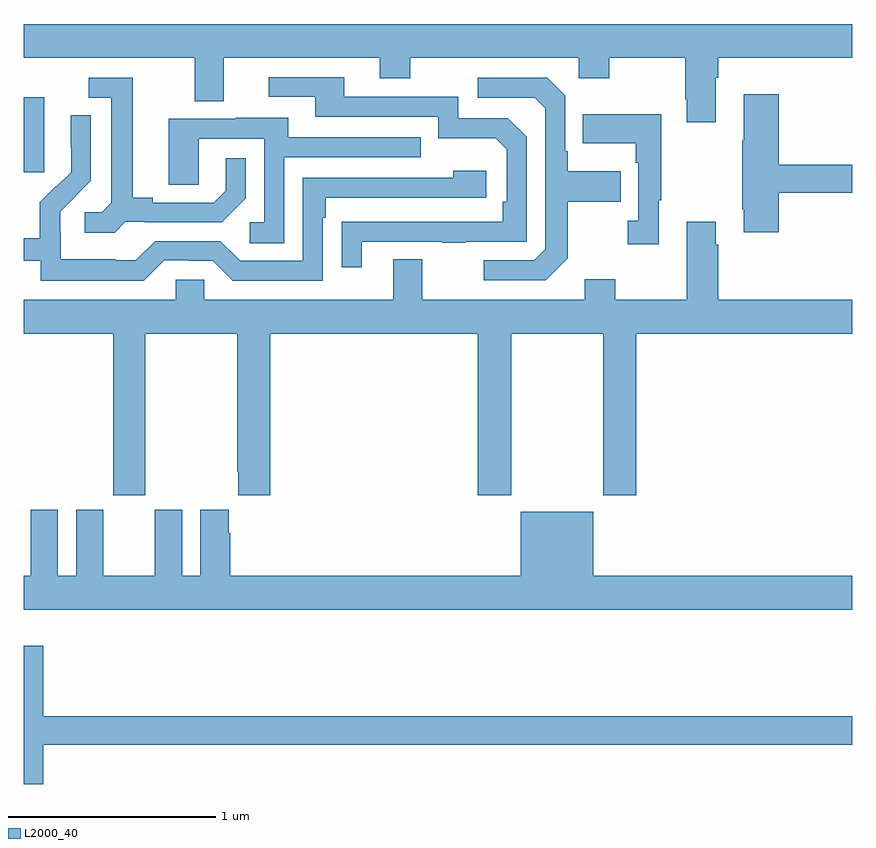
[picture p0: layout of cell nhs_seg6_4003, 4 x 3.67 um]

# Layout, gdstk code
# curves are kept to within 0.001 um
import gdstk
lib = gdstk.Library(unit=1e-6, precision=1e-09)
def R(c, l, rs):  # rectangles x0, y0, x1, y1
    for r in rs: c.add(gdstk.rectangle(r[:2], r[2:], *l))
def P(c, l, *ps):  # polygons
    for p in ps: c.add(gdstk.Polygon(p, *l))
L2000_40 = (2000, 40)

nhs_seg6_4003 = lib.new_cell('nhs_seg6_4003')
R(nhs_seg6_4003, L2000_40, [(347,962.769,347.098,963.13)])
P(nhs_seg6_4003, L2000_40, [(350.341,963.224),(350.354,963.224),(350.354,963.32),(351,963.32),(351,963.484),(347,963.484),(347,963.32),(347.825,963.32),(347.825,963.112),(347.965,963.112),(347.965,963.32),(348.719,963.32),(348.719,963.221),(348.867,963.221),(348.867,963.32),(349.68,963.32),(349.68,963.221),(349.827,963.221),(349.827,963.32),(350.194,963.32),(350.194,963.121),(350.201,963.121),(350.201,963.009),(350.341,963.009)],
  [(348.631,962.433),(349.021,962.433),(349.021,962.428),(349.133,962.428),(349.133,962.433),(349.428,962.433),(349.428,962.94),(349.338,963.03),(349.098,963.03),(349.098,963.132),(348.547,963.132),(348.547,963.228),(348.183,963.228),(348.183,963.132),(348.407,963.132),(348.407,963.036),(349.002,963.036),(349.002,962.933),(349.279,962.933),(349.332,962.88),(349.332,962.626),(349.312,962.626),(349.312,962.529),(348.535,962.528),(348.535,962.31),(348.631,962.31)],
  [(347.49,962.529),(347.584,962.529),(347.584,962.526),(347.956,962.526),(348.072,962.642),(348.072,962.836),(347.975,962.836),(347.975,962.679),(347.918,962.622),(347.623,962.622),(347.623,962.645),(347.527,962.645),(347.527,963.225),(347.313,963.225),(347.313,963.129),(347.423,963.129),(347.423,962.621),(347.376,962.574),(347.295,962.574),(347.295,962.477),(347.438,962.477)],
  [(349.627,962.353),(349.627,962.626),(349.883,962.626),(349.883,962.773),(349.627,962.773),(349.627,962.869),(349.614,962.869),(349.614,963.138),(349.527,963.225),(349.191,963.225),(349.191,963.129),(349.467,963.129),(349.518,963.078),(349.518,962.397),(349.464,962.343),(349.221,962.343),(349.221,962.247),(349.521,962.247)],
  [(350.645,962.668),(351,962.668),(351,962.804),(350.645,962.804),(350.645,963.145),(350.477,963.145),(350.477,962.921),(350.47,962.921),(350.47,962.59),(350.477,962.59),(350.477,962.478),(350.645,962.478)],
  [(350.065,962.633),(350.077,962.633),(350.077,963.049),(349.699,963.049),(349.699,962.909),(349.956,962.909),(349.956,962.813),(349.968,962.813),(349.968,962.534),(349.917,962.534),(349.917,962.421),(350.065,962.421)],
  [(347.679,962.343),(347.795,962.343),(347.795,962.34),(347.913,962.34),(348.009,962.244),(348.444,962.244),(348.444,962.549),(348.457,962.549),(348.457,962.646),(349.234,962.646),(349.234,962.776),(349.073,962.776),(349.073,962.742),(348.348,962.742),(348.348,962.34),(348.045,962.34),(347.949,962.436),(347.634,962.436),(347.541,962.343),(347.441,962.343),(347.441,962.347),(347.178,962.347),(347.178,962.481),(347.176,962.481),(347.176,962.578),(347.322,962.726),(347.322,963.044),(347.226,963.044),(347.226,962.89),(347.228,962.89),(347.228,962.768),(347.157,962.697),(347.154,962.7),(347.077,962.623),(347.077,962.449),(347,962.449),(347,962.34),(347.082,962.34),(347.082,962.243),(347.579,962.243)],
  [(348.258,962.841),(348.917,962.841),(348.917,962.937),(348.277,962.937),(348.277,963.031),(348.023,963.031),(348.023,963.027),(347.699,963.027),(347.699,962.707),(347.844,962.707),(347.844,962.931),(348.162,962.931),(348.162,962.526),(348.09,962.526),(348.09,962.425),(348.258,962.425)],
  [(347.586,961.988),(348.031,961.988),(348.031,961.321),(348.035,961.321),(348.035,961.209),(348.191,961.209),(348.191,961.988),(349.193,961.988),(349.193,961.209),(349.353,961.209),(349.353,961.988),(349.798,961.988),(349.798,961.209),(349.958,961.209),(349.958,961.988),(351,961.988),(351,962.152),(350.354,962.152),(350.354,962.417),(350.341,962.417),(350.341,962.53),(350.201,962.53),(350.201,962.152),(349.857,962.152),(349.857,962.251),(349.709,962.251),(349.709,962.152),(348.925,962.152),(348.925,962.347),(348.785,962.347),(348.785,962.152),(347.871,962.152),(347.871,962.25),(347.733,962.25),(347.733,962.152),(347,962.152),(347,961.988),(347.431,961.988),(347.431,961.209),(347.586,961.209)],
  [(351,960.82),(349.75,960.82),(349.75,961.129),(349.4,961.129),(349.4,960.82),(347.996,960.82),(347.996,961.025),(347.989,961.025),(347.989,961.138),(347.852,961.138),(347.852,960.82),(347.764,960.82),(347.764,961.138),(347.633,961.138),(347.633,960.82),(347.383,960.82),(347.383,961.138),(347.252,961.138),(347.252,960.82),(347.164,960.82),(347.164,961.138),(347.033,961.138),(347.033,960.82),(347,960.82),(347,960.656),(351,960.656)],
  [(347.093,960.004),(351,960.004),(351,960.14),(347.093,960.14),(347.093,960.481),(347,960.481),(347,959.814),(347.093,959.814)])

lib.write_gds('nhs_seg6_4003.gds')
